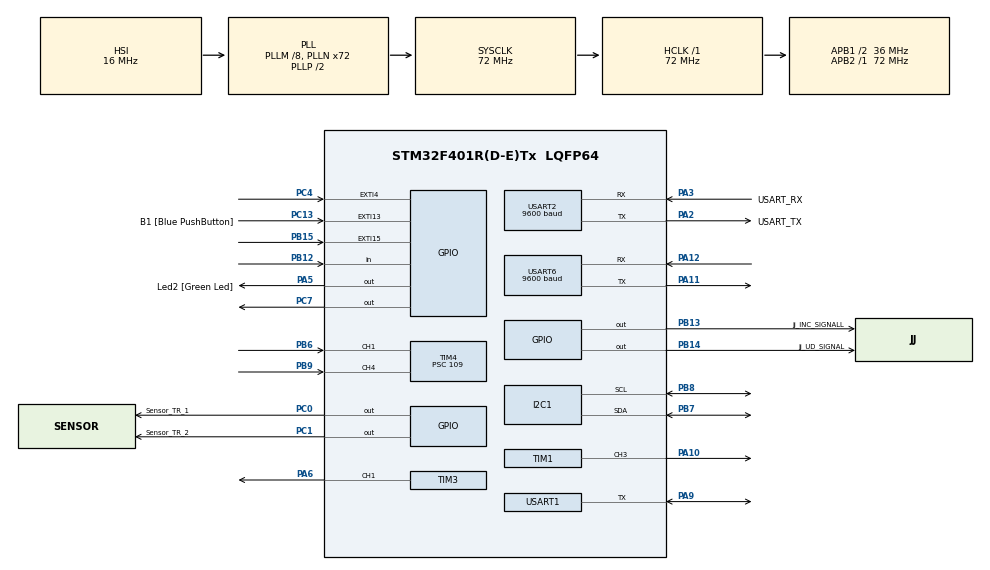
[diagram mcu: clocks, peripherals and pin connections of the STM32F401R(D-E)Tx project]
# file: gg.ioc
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Mcu.Family=STM32F4
Mcu.Name=STM32F401R(D-E)Tx
Mcu.Package=LQFP64
NVIC.EXTI15_10_IRQn=true\:0\:0\:false\:false\:true\:true\:true\:true
NVIC.EXTI4_IRQn=true\:0\:0\:false\:false\:true\:true\:true\:true
NVIC.PriorityGroup=NVIC_PRIORITYGROUP_0
NVIC.TIM1_BRK_TIM9_IRQn=true\:0\:0\:false\:false\:true\:true\:true\:true
NVIC.TIM1_TRG_COM_TIM11_IRQn=true\:0\:0\:false\:false\:true\:true\:true\:true
NVIC.TIM3_IRQn=true\:0\:0\:false\:false\:true\:true\:true\:true
NVIC.TIM4_IRQn=true\:0\:0\:false\:false\:true\:true\:true\:true
NVIC.USART1_IRQn=true\:0\:0\:false\:false\:true\:true\:true\:true
NVIC.USART2_IRQn=true\:0\:0\:false\:false\:true\:true\:true\:true
NVIC.USART6_IRQn=true\:0\:0\:false\:false\:true\:true\:true\:true
PA10.Signal=S_TIM1_CH3
PA13.GPIO_Label=TMS
PA13.Mode=Serial_Wire
PA13.Signal=SYS_JTMS-SWDIO
PA14.GPIO_Label=TCK
PA14.Mode=Serial_Wire
PA14.Signal=SYS_JTCK-SWCLK
PA2.GPIO_Label=USART_TX
PA2.GPIO_Mode=GPIO_MODE_AF_PP
PA2.GPIO_PuPd=GPIO_NOPULL
PA2.GPIO_Speed=GPIO_SPEED_FREQ_LOW
PA2.Mode=Asynchronous
PA2.Signal=USART2_TX
PA3.GPIO_Label=USART_RX
PA3.GPIO_Mode=GPIO_MODE_AF_PP
PA3.GPIO_PuPd=GPIO_NOPULL
PA3.GPIO_Speed=GPIO_SPEED_FREQ_LOW
PA3.Mode=Asynchronous
PA3.Signal=USART2_RX
PA4.Signal=ADCx_IN4
PA5.GPIO_Label=Led2 [Green Led]
PA5.GPIO_Mode=GPIO_MODE_OUTPUT_PP
PA5.GPIO_PuPd=GPIO_NOPULL
PA5.GPIO_Speed=GPIO_SPEED_FREQ_LOW
PA5.Signal=GPIO_Output
PA6.Signal=S_TIM3_CH1
PA11.Mode=Asynchronous
PA11.Signal=USART6_TX
PA12.Mode=Asynchronous
PA12.Signal=USART6_RX
PA9.Mode=Half_duplex(single_wire_mode)
PA9.Signal=USART1_TX
PB12.Signal=GPIO_Input
PB13.GPIO_Label=jj_INC_SIGNALL
PB13.Signal=GPIO_Output
PB14.GPIO_Label=jj_UD_SIGNAL
PB14.Signal=GPIO_Output
PB15.GPIO_ModeDefaultEXTI=GPIO_MODE_IT_FALLING
PB15.GPIO_PuPd=GPIO_PULLUP
PB15.Signal=GPXTI15
PB3.GPIO_Label=SWO
PB3.Signal=SYS_JTDO-SWO
PB6.GPIO_PuPd=GPIO_NOPULL
PB6.Signal=S_TIM4_CH1
PB7.GPIO_Pu=GPIO_PULLUP
PB7.Mode=I2C
PB7.Signal=I2C1_SDA
PB8.GPIO_Mode=GPIO_MODE_AF_OD
PB8.GPIO_Pu=GPIO_PULLUP
PB8.Mode=I2C
PB8.Signal=I2C1_SCL
PB9.GPIO_PuPd=GPIO_NOPULL
PB9.Signal=S_TIM4_CH4
PC0.GPIO_Label=Sensor_TR_1
PC0.GPIO_PuPd=GPIO_NOPULL
PC0.Signal=GPIO_Output
PC1.GPIO_Label=Sensor_TR_2
PC1.Signal=GPIO_Output
PC13-ANTI_TAMP.GPIO_Label=B1 [Blue PushButton]
PC13-ANTI_TAMP.GPIO_ModeDefaultEXTI=GPIO_MODE_IT_FALLING
PC13-ANTI_TAMP.GPIO_PuPd=GPIO_NOPULL
PC13-ANTI_TAMP.Signal=GPXTI13
PC14-OSC32_IN.Mode=LSE-External-Oscillator
PC14-OSC32_IN.Signal=RCC_OSC32_IN
PC15-OSC32_OUT.Mode=LSE-External-Oscillator
PC15-OSC32_OUT.Signal=RCC_OSC32_OUT
PC4.GPIO_PuPd=GPIO_PULLUP
PC4.Signal=GPXTI4
PC7.GPIO_PuPd=GPIO_NOPULL
PC7.PinState=GPIO_PIN_SET
PC7.Signal=GPIO_Output
PH0\ -\ OSC_IN.Mode=HSE-External-Clock-Source
PH0\ -\ OSC_IN.Signal=RCC_OSC_IN
PH1\ -\ OSC_OUT.Mode=HSE-External-Clock-Source
PH1\ -\ OSC_OUT.Signal=RCC_OSC_OUT
ProjectManager.HeapSize=0x200
ProjectManager.StackSize=0x400
ProjectManager.TargetToolchain=STM32CubeIDE
RCC.48MHZClocksFreq_Value=20571428.57142857
RCC.AHBFreq_Value=72000000
RCC.APB1CLKDivider=RCC_HCLK_DIV2
RCC.APB1Freq_Value=36000000
RCC.APB1TimFreq_Value=72000000
RCC.APB2Freq_Value=72000000
RCC.APB2TimFreq_Value=72000000
RCC.CortexFreq_Value=72000000
RCC.HCLKFreq_Value=72000000
RCC.HSE_VALUE=8000000
RCC.HSI_VALUE=16000000
RCC.PLLM=8
RCC.PLLN=72
RCC.PLLQ=7
RCC.RCC_RTC_Clock_Source=RCC_RTCCLKSOURCE_LSI
RCC.RCC_RTC_Clock_SourceVirtual=RCC_RTCCLKSOURCE_LSI
RCC.SYSCLKFreq_VALUE=72000000
RCC.SYSCLKSource=RCC_SYSCLKSOURCE_PLLCLK
RCC.VCOOutputFreq_Value=144000000
RTC.Format=RTC_FORMAT_BIN
RTC.Hours=10
SH.ADCx_IN4.0=ADC1_IN4
SH.S_TIM1_CH3.0=TIM1_CH3,PWM Generation3 CH3
SH.S_TIM3_CH1.0=TIM3_CH1,PWM Generation1 CH1
SH.S_TIM4_CH1.0=TIM4_CH1,Input_Capture1_from_TI1
SH.S_TIM4_CH4.0=TIM4_CH4,Input_Capture4_from_TI4
TIM1.AutoReloadPreload=TIM_AUTORELOAD_PRELOAD_ENABLE
TIM1.Channel-PWM\ Generation3\ CH3=TIM_CHANNEL_3
TIM1.OCFastMode_PWM-PWM\ Generation3\ CH3=TIM_OCFAST_ENABLE
TIM1.Period=65534
TIM1.Prescaler=3401
TIM1.Pulse-PWM\ Generation3\ CH3=6511
TIM3.AutoReloadPreload=TIM_AUTORELOAD_PRELOAD_ENABLE
TIM3.Channel-PWM\ Generation1\ CH1=TIM_CHANNEL_1
TIM3.OCFastMode_PWM-PWM\ Generation1\ CH1=TIM_OCFAST_ENABLE
TIM3.Period=65410
TIM3.Prescaler=21
TIM3.Pulse-PWM\ Generation1\ CH1=50000
TIM3.TIM_MasterOutputTrigger=TIM_TRGO_UPDATE
TIM4.AutoReloadPreload=TIM_AUTORELOAD_PRELOAD_ENABLE
TIM4.Channel-Input_Capture1_from_TI1=TIM_CHANNEL_1
TIM4.Channel-Input_Capture4_from_TI4=TIM_CHANNEL_4
TIM4.ClockDivision=TIM_CLOCKDIVISION_DIV1
TIM4.Period=65535
TIM4.Prescaler=109
TIM9.AutoReloadPreload=TIM_AUTORELOAD_PRELOAD_ENABLE
TIM9.Period=65535-1
TIM9.Prescaler=501
USART1.VirtualMode=VM_ASYNC
USART2.BaudRate=9600
USART2.VirtualMode=VM_ASYNC
USART6.BaudRate=9600
USART6.VirtualMode=VM_ASYNC
VP_RTC_VS_RTC_Activate.Mode=RTC_Enabled
VP_RTC_VS_RTC_WakeUp_intern.Mode=WakeUp
VP_TIM1_VS_ClockSourceINT.Mode=Internal
VP_TIM3_VS_ClockSourceINT.Mode=Internal
VP_TIM4_VS_ClockSourceINT.Mode=Internal
VP_TIM9_VS_ClockSourceINT.Mode=Internal
board=NUCLEO-F401RE

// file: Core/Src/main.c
/* USER CODE BEGIN Header */
/**
  ******************************************************************************
  * @file           : main.c
  * @brief          : Main program body
  ******************************************************************************
  * @attention
  *
  * Copyright (c) 2022 STMicroelectronics.
  * All rights reserved.
  *
  * This software is licensed under terms that can be found in the LICENSE file
  * in the root directory of this software component.
  * If no LICENSE file comes with this software, it is provided AS-IS.
  *
  ******************************************************************************
  */
/* USER CODE END Header */
#include "main.h"
#include "i2c.h"
#include "rtc.h"
#include "tim.h"
#include "usart.h"
#include "gpio.h"

/* USER CODE BEGIN Includes */
//***************************************************************************************
#include <stdio.h>
#include <string.h>
#include <lcd16x2_i2c.h>
#include <jj.h>
#include <lcd_display.h>
#include <jj_Time.h>

#include <OneWire.h>
/* USER CODE END Includes */

/* USER CODE BEGIN PTD */
#define jj_const_czas_piku 150

/* Modul BLE HM-10 na USART6 (PA11 TX, PA12 RX), STATE na PB12 */
#define JJ_BLE_UART           huart6
#define JJ_TELEMETRIA_MS      200     /* co ile ms wysylac dane          */
#define JJ_PROG_DOMYSLNY      30      /* cm - ponizej ciagly pisk        */
#define JJ_PROG_MIN           10
#define JJ_PROG_MAX           100
#define JJ_RX_ROZMIAR         32
/* USER CODE END PTD */

/* USER CODE BEGIN PM */
void jj_Get_Time(void)
{
	/* HAL wymaga pelnych struktur RTC (RTC_TimeTypeDef ma 20 bajtow).
	   Wczesniej zapis szedl wprost do tablicy uint8_t[4] i nadpisywal pamiec. */
	RTC_TimeTypeDef czas = {0};
	RTC_DateTypeDef data = {0};

	HAL_RTC_GetTime(&hrtc, &czas, RTC_FORMAT_BIN);
	HAL_RTC_GetDate(&hrtc, &data, RTC_FORMAT_BIN);   /* zawsze po GetTime */

	godzina_main[0] = czas.Hours;
	godzina_main[1] = czas.Minutes;
	godzina_main[2] = czas.Seconds;

	data_main[0] = data.WeekDay;
	data_main[1] = data.Month;
	data_main[2] = data.Date;
	data_main[3] = data.Year;
}
/* USER CODE END PM */

/* USER CODE BEGIN PV */

volatile uint16_t 	jj_val_Tim3_20_ms;
volatile uint16_t   jj_val_Tim3_1000ms;

uint32_t 	jj_Val_Pulse_ms;
uint32_t 	jj_Val_Pulse_ms_New;

uint16_t 	jj_Val_PSC ;
//uint16_t	jj_Val_PSC_new;

uint16_t 	jj_Val_ARR;

uint32_t  	jj_Val_F;

float liczba_float;

//----------------------------------zmienna decydująca co yświetlacz na LCD
volatile uint8_t jj_Lcd_Screen;
//----------------------------------Pomiar odleglosci----------------------------------------------------------------------------------------
uint8_t jj_measure_lewy_prawy;
//uint8_t jj_wykasowac;
						// 1- czujnik 1 ; 2- czujnik 2 ; 0- pomiar wyłaczony;
//-------------------------------------------------------------------------------------------------------------------------------------
uint8_t napis_wersja_softu[]="\n              pierwszy program v.01 \n";
uint8_t array_petla[]="ooo rety";
volatile uint8_t x,y,z ,f,koniec_konwersji,dioda;
//--------------------------------------------

uint16_t j;
volatile uint64_t Licznik_TIMM10,Licznik_TIM11,VALUE;

volatile uint16_t ADC_JOYSTICK[40];
volatile uint64_t PWM,OC,timer10_val;

uint16_t ADC_Result2[3];

uint8_t UartMessage[32];
//---------------------------------------------------------------------------------------

//---------------------------------------------------------
uint8_t godzina_main[4];
uint8_t data_main[4];
jj_T_Time j_czas;
jj_T_Date jj_data;
uint32_t jj_Psc_htim3;

  /* USER CODE END 2 */

//------------------------------------------------------------------------------------------------

//---------------------------------------------------------------
/* USER CODE END PV */

void SystemClock_Config(void);
/* USER CODE BEGIN PFP */
void jj_UART2_Print(uint8_t* Message);
static void jj_Odbior_Start(UART_HandleTypeDef *huart);
static void jj_Wyslij_Telemetrie(void);
static void jj_Obsluz_Komende(char *linia);
static float jj_Najblizsza_Odleglosc(void);
/* USER CODE END PFP */

/* USER CODE BEGIN 0 */
extern float Temp[MAXDEVICES_ON_THE_BUS];
extern uint8_t devices;              /* liczba znalezionych DS18B20 (OneWire.c) */

/* Prog ciaglego pisku [cm], zmieniany komenda PROG=xx */
static volatile uint8_t jj_prog_cm = JJ_PROG_DOMYSLNY;

/* Odbior komend: bufor HAL + skladanie linii (BLE dzieli dane na paczki po 20 B) */
static uint8_t  jj_rx_ble[JJ_RX_ROZMIAR];
static uint8_t  jj_rx_pc[JJ_RX_ROZMIAR];
static char     jj_linia_ble[JJ_RX_ROZMIAR];
static char     jj_linia_pc[JJ_RX_ROZMIAR];
static uint8_t  jj_linia_ble_dl;
static uint8_t  jj_linia_pc_dl;
static char     jj_komenda[JJ_RX_ROZMIAR];
static volatile uint8_t jj_komenda_gotowa;

/* Osobne bufory nadawcze - transmisja w przerwaniach trwa jeszcze po wyjsciu z funkcji */
static char     jj_tx_ble[64];
static char     jj_tx_pc[64];
uint32_t jj_value[2];
uint32_t aa;
uint32_t bb;

/* USER CODE END 0 */

int main(void)
{
  /* USER CODE BEGIN 1 */
	jj_Lcd_Screen =1;
	jj_Psc_htim3 =65000;
//------------------------------------------------------------

  /* USER CODE END 1 */

  /* MCU Configuration--------------------------------------------------------*/

  /* Reset of all peripherals, Initializes the Flash interface and the Systick. */
  HAL_Init();

  /* Configure the system clock */
  SystemClock_Config();

  /* Initialize all configured peripherals */
  MX_GPIO_Init();
  MX_USART2_UART_Init();
  MX_USART1_UART_Init();
  MX_TIM4_Init();
  MX_TIM9_Init();
  MX_TIM1_Init();
  MX_RTC_Init();
  MX_I2C1_Init();
  MX_USART6_UART_Init();
  MX_TIM3_Init();
  /* USER CODE BEGIN 2 */
  lcd16x2_i2c_init(&hi2c1);
  lcd16x2_i2c_printf("14");
  jj_measure_lewy_prawy =1;

  /* odbior komend z HM-10 (BLE) i z komputera (USB, ST-Link) */
  jj_Odbior_Start(&JJ_BLE_UART);
  jj_Odbior_Start(&huart2);
//--------------------------------- KONFIGURACJA TIMERÓW
	HAL_TIM_Base_Start_IT ( &htim9 );
	HAL_TIM_IC_Start_IT ( &htim4 , TIM_CHANNEL_1 );	//Timer 4 pomiar odległości
	HAL_TIM_IC_Start_IT ( &htim4 , TIM_CHANNEL_4 );  //Timer 4 pomiar odległości
	HAL_TIM_PWM_Start_IT ( &htim1 , TIM_CHANNEL_3 );
	HAL_TIM_PWM_Start_IT ( &htim3 , TIM_CHANNEL_1 );

	//HAL_ADC_Start_DMA ( &hadc1 , jj_value , 2 );
//------------------------------inicjalizacja pomiaru temperatury onewire ---------------------------
 get_ROMid();
//------------------------------------------------------------------------
	jj_Val_PSC = TIM1->PSC;
	jj_Val_ARR = TIM1->ARR;
	jj_Val_F = ((72000000000) /            //* 1000 wiec wynik w mHz
			((TIM1->PSC + 1) * (TIM1->ARR + 1)));

	jj_Val_Pulse_ms = 1000000 / jj_Val_F;   // calkowity czas pulsu
	//-- wyznaczenie liczby dla pulsu 150 ms

	TIM1->CCR3 = (uint32_t) ((TIM1->ARR * jj_const_czas_piku)
			/ (jj_Val_Pulse_ms));

//------------------------------------------------------------------------
  /* USER CODE END 2 */

  /* Infinite loop */
  /* USER CODE BEGIN WHILE */
  while (1)
  {
	  get_Temperature();
	  jj_Get_Time();

      aa = jj_value[0];
      bb = jj_value[1];

//---------------------------------------------- realizacja pikania buczkiem w zaleznosci od osleglosci
	  /* bierzemy blizszy z dwoch czujnikow; prog ciaglego pisku z komendy PROG= */
	  float odl = jj_Najblizsza_Odleglosc ( );
	  if ((odl >= 2) && (odl <= 400)) {

			if (odl <= jj_prog_cm) {
				TIM1->PSC = 170;
			} else

			{
				TIM1->PSC = (uint32_t) (11 * odl) - 91;
			}

		}

	  jj_Val_PSC = TIM1->PSC ;
	  jj_Val_ARR = TIM1->ARR ;
	  jj_Val_F = ((72000000000) /            //* 1000 wiec wynik w mHz
	   			    (  (TIM1->PSC+1)	*	(TIM1->ARR+1)));

	  jj_Val_Pulse_ms  = 1000000 /jj_Val_F ;   // calkowity czas pulsu w ms

	  TIM1->CCR3 = (uint32_t)((TIM1->ARR * jj_const_czas_piku)/(	jj_Val_Pulse_ms	)  );

	  switch (jj_measure_lewy_prawy) {
			case 1:
				jj_Sensor_Start ( 1 );
				HAL_GPIO_WritePin ( GPIOC , GPIO_PIN_0 , GPIO_PIN_SET );

				__HAL_TIM_SET_COUNTER( &htim9 , 0 );
				while (__HAL_TIM_GET_COUNTER(&htim9) < 70)
					; // wait for the counter to reach the us input in the parameter

				HAL_GPIO_WritePin ( GPIOC , GPIO_PIN_0 , GPIO_PIN_RESET );
				jj_measure_lewy_prawy = 2;
				break;

			case 2:
				jj_Sensor_Start ( 2 );
				HAL_GPIO_WritePin ( GPIOC , GPIO_PIN_1 , GPIO_PIN_SET );

				__HAL_TIM_SET_COUNTER( &htim9 , 0 );
				while (__HAL_TIM_GET_COUNTER(&htim9) < 70)
					; // wait for the counter to reach the us input in the parameter

				HAL_GPIO_WritePin ( GPIOC , GPIO_PIN_1 , GPIO_PIN_RESET );
				jj_measure_lewy_prawy = 1;
				break;

			default:

				break;
		} //-------------------  koniec switcha

	  	  	  	jj_Lcd_Menu(jj_Lcd_Screen);
HAL_Delay(100);

if (jj_val_Tim3_1000ms == 20)
{

jj_val_Tim3_1000ms = 0;
}

//----------------------------------------------

//------------------------------------------------------------

//-------------------------------------------------------------------------------------

    //---------------------------------------- dane do telefonu (HM-10) i komputera
    static uint32_t ostatnia_telemetria = 0;
    if ( HAL_GetTick ( ) - ostatnia_telemetria >= JJ_TELEMETRIA_MS )
    {
    	ostatnia_telemetria = HAL_GetTick ( );
    	jj_Wyslij_Telemetrie ( );
    }

    //---------------------------------------- komendy z telefonu / komputera
    if ( jj_komenda_gotowa )
    {
    	jj_Obsluz_Komende ( jj_komenda );
    	jj_komenda_gotowa = 0;
    }
//------------------------------------------------------------------------------------------
    /* USER CODE END WHILE */

  }
}

void SystemClock_Config(void)
{
  RCC_OscInitTypeDef RCC_OscInitStruct = {0};
  RCC_ClkInitTypeDef RCC_ClkInitStruct = {0};

  /** Configure the main internal regulator output voltage
  */
  __HAL_RCC_PWR_CLK_ENABLE();
  __HAL_PWR_VOLTAGESCALING_CONFIG(PWR_REGULATOR_VOLTAGE_SCALE2);

  /** Initializes the RCC Oscillators according to the specified parameters
  * in the RCC_OscInitTypeDef structure.
  */
  RCC_OscInitStruct.OscillatorType = RCC_OSCILLATORTYPE_HSI|RCC_OSCILLATORTYPE_LSI;
  RCC_OscInitStruct.HSIState = RCC_HSI_ON;
  RCC_OscInitStruct.HSICalibrationValue = RCC_HSICALIBRATION_DEFAULT;
  RCC_OscInitStruct.LSIState = RCC_LSI_ON;
  RCC_OscInitStruct.PLL.PLLState = RCC_PLL_ON;
  RCC_OscInitStruct.PLL.PLLSource = RCC_PLLSOURCE_HSI;
  RCC_OscInitStruct.PLL.PLLM = 8;
  RCC_OscInitStruct.PLL.PLLN = 72;
  RCC_OscInitStruct.PLL.PLLP = RCC_PLLP_DIV2;
  RCC_OscInitStruct.PLL.PLLQ = 7;
  if (HAL_RCC_OscConfig(&RCC_OscInitStruct) != HAL_OK)
  {
    Error_Handler();
  }

  /** Initializes the CPU, AHB and APB buses clocks
  */
  RCC_ClkInitStruct.ClockType = RCC_CLOCKTYPE_HCLK|RCC_CLOCKTYPE_SYSCLK
                              |RCC_CLOCKTYPE_PCLK1|RCC_CLOCKTYPE_PCLK2;
  RCC_ClkInitStruct.SYSCLKSource = RCC_SYSCLKSOURCE_PLLCLK;
  RCC_ClkInitStruct.AHBCLKDivider = RCC_SYSCLK_DIV1;
  RCC_ClkInitStruct.APB1CLKDivider = RCC_HCLK_DIV2;
  RCC_ClkInitStruct.APB2CLKDivider = RCC_HCLK_DIV1;

  if (HAL_RCC_ClockConfig(&RCC_ClkInitStruct, FLASH_LATENCY_2) != HAL_OK)
  {
    Error_Handler();
  }
}

/* USER CODE BEGIN 4 */
void jj_UART2_Print(uint8_t *Message) {

	HAL_UART_Transmit_IT( &huart2 , Message , strlen ( (char*) Message ) );
}

//---------------------------------------PRZERWANIA
void HAL_GPIO_EXTI_Callback(uint16_t GPIO_Pin) {
	uint16_t x;
	x = GPIO_Pin;
	if (GPIO_Pin == GPIO_PIN_13) {
		jj_Lcd_Screen++;
		if (jj_Lcd_Screen > 5)
			jj_Lcd_Screen = 1;

	}

	if (GPIO_Pin == GPIO_PIN_4) {
		jj_Lcd_Screen = 1;
	}

	if (GPIO_Pin == GPIO_PIN_15) {
		jj_Lcd_Screen = 2;
	}

}
//---------------------------------------------------------------

//----------------------------------------------------------------------------------------------------------------------------------------------
//------------------------------------------------------------------ BLE (HM-10) i UART2
static void jj_Odbior_Start(UART_HandleTypeDef *huart)
{
	uint8_t *bufor = (huart == &JJ_BLE_UART) ? jj_rx_ble : jj_rx_pc;
	HAL_UARTEx_ReceiveToIdle_IT(huart, bufor, JJ_RX_ROZMIAR);
}

/* Odebrano kawalek danych (koniec bufora albo przerwa w transmisji).
   Skladamy znaki w linie; komenda konczy sie znakiem \n albo \r. */
void HAL_UARTEx_RxEventCallback(UART_HandleTypeDef *huart, uint16_t Size)
{
	uint8_t *bufor;
	char    *linia;
	uint8_t *dl;

	if (huart == &JJ_BLE_UART) {
		bufor = jj_rx_ble; linia = jj_linia_ble; dl = &jj_linia_ble_dl;
	} else if (huart == &huart2) {
		bufor = jj_rx_pc;  linia = jj_linia_pc;  dl = &jj_linia_pc_dl;
	} else {
		return;
	}

	for (uint16_t k = 0; k < Size; k++) {
		char c = (char) bufor[k];
		if (c == '\n' || c == '\r') {
			if (*dl > 0 && !jj_komenda_gotowa) {
				linia[*dl] = 0;
				memcpy(jj_komenda, linia, (size_t)(*dl) + 1);
				jj_komenda_gotowa = 1;
			}
			*dl = 0;
		} else if (*dl < JJ_RX_ROZMIAR - 1) {
			linia[(*dl)++] = c;
		} else {
			*dl = 0;   /* za dluga linia - odrzucamy */
		}
	}
	jj_Odbior_Start(huart);
}

/* Po bledzie (np. szum na linii) wznawiamy odbior. USART1 to 1-Wire - nie ruszamy. */
void HAL_UART_ErrorCallback(UART_HandleTypeDef *huart)
{
	if (huart == &JJ_BLE_UART || huart == &huart2) {
		jj_Odbior_Start(huart);
	}
}

static float jj_Najblizsza_Odleglosc(void)
{
	float d1 = jj_Get_Result_Sensor_1();
	float d2 = jj_Get_Result_Sensor_2();

	if (d1 < 0) return d2;
	if (d2 < 0) return d1;
	return (d1 < d2) ? d1 : d2;
}

/* Linia tekstu, np.  D1=50;D2=73;T1=21.5;T2=22.0\n
   D = odleglosc w cm (-1 = brak pomiaru), T = temperatura (tylko znalezione czujniki). */
static void jj_Wyslij_Telemetrie(void)
{
	char linia[64];
	int  n;

	n = snprintf(linia, sizeof(linia), "D1=%d;D2=%d",
			(int) jj_Get_Result_Sensor_1(), (int) jj_Get_Result_Sensor_2());

	for (uint8_t k = 0; k < devices && k < MAXDEVICES_ON_THE_BUS && n < (int) sizeof(linia); k++) {
		n += snprintf(linia + n, sizeof(linia) - n, ";T%d=%.1f", k + 1, Temp[k]);
	}
	if (n > (int) sizeof(linia) - 2) n = sizeof(linia) - 2;
	linia[n++] = '\n';
	linia[n] = 0;

	/* HM-10 - tylko gdy telefon jest polaczony (STATE = 1) */
	if (HAL_GPIO_ReadPin(GPIOB, GPIO_PIN_12) == GPIO_PIN_SET
			&& JJ_BLE_UART.gState == HAL_UART_STATE_READY) {
		memcpy(jj_tx_ble, linia, (size_t) n + 1);
		HAL_UART_Transmit_IT(&JJ_BLE_UART, (uint8_t*) jj_tx_ble, (uint16_t) n);
	}
	/* komputer przez USB (ST-Link), np. PuTTY 9600 */
	if (huart2.gState == HAL_UART_STATE_READY) {
		memcpy(jj_tx_pc, linia, (size_t) n + 1);
		HAL_UART_Transmit_IT(&huart2, (uint8_t*) jj_tx_pc, (uint16_t) n);
	}
}

/* Komendy:  EKRAN=1..5   PROG=10..100 */
static void jj_Obsluz_Komende(char *linia)
{
	char odp[40];
	int  wartosc;

	if (sscanf(linia, "EKRAN=%d", &wartosc) == 1 && wartosc >= 1 && wartosc <= 5) {
		jj_Lcd_Screen = (uint8_t) wartosc;
		snprintf(odp, sizeof(odp), "OK EKRAN=%d\n", wartosc);
	} else if (sscanf(linia, "PROG=%d", &wartosc) == 1
			&& wartosc >= JJ_PROG_MIN && wartosc <= JJ_PROG_MAX) {
		jj_prog_cm = (uint8_t) wartosc;
		snprintf(odp, sizeof(odp), "OK PROG=%d\n", wartosc);
	} else {
		snprintf(odp, sizeof(odp), "BLAD: EKRAN=1..5 lub PROG=%d..%d\n", JJ_PROG_MIN, JJ_PROG_MAX);
	}

	/* odpowiedz w obie strony; czekamy chwile, az zwolni sie nadajnik */
	uint32_t start = HAL_GetTick();
	while ((JJ_BLE_UART.gState != HAL_UART_STATE_READY || huart2.gState != HAL_UART_STATE_READY)
			&& HAL_GetTick() - start < 100) { }
	if (HAL_GPIO_ReadPin(GPIOB, GPIO_PIN_12) == GPIO_PIN_SET) {
		strcpy(jj_tx_ble, odp);
		HAL_UART_Transmit_IT(&JJ_BLE_UART, (uint8_t*) jj_tx_ble, (uint16_t) strlen(odp));
	}
	strcpy(jj_tx_pc, odp);
	HAL_UART_Transmit_IT(&huart2, (uint8_t*) jj_tx_pc, (uint16_t) strlen(odp));
}

//----------------------------------------------------------------------------------------------------------
void HAL_TIM_IC_CaptureCallback(TIM_HandleTypeDef *htim)
{
	if ( htim->Channel 		==	HAL_TIM_ACTIVE_CHANNEL_4)
		{
			jj_Measure_Sensor_1();
		}

	if ( htim->Channel 		==	HAL_TIM_ACTIVE_CHANNEL_1)
		{
			jj_Measure_Sensor_2();
		}

}
//-----------------------------------------------------------------------------------------------------------
void HAL_TIM_PWM_PulseFinishedHalfCpltCallback(TIM_HandleTypeDef *htim)
{

}

void HAL_TIM_PWM_PulseFinishedCallback(TIM_HandleTypeDef *htim)
{

	if	(htim->Instance ==TIM1)
	{
			x=11;

	}

	if	(htim->Instance ==TIM3)
	{
		jj_val_Tim3_20_ms ++;

		if ( jj_val_Tim3_20_ms == 500 )
		{

			jj_val_Tim3_1000ms ++;
			jj_val_Tim3_20_ms = 0;
		}

	}

	if (htim->Instance	==	TIM5)
	{
		dioda++;
	}

	if (htim->Instance	==	TIM4)
	{
		dioda++;
	}

	dioda++;
	if ( dioda>= 30)
	 {
		 dioda= 0 ;
	 }

	if ( dioda == 25)
	{
//	 HAL_GPIO_TogglePin(Led2_GPIO_Port, Led2_Pin);

	}

}

//--------------------------------------------------------------------------------------
void HAL_TIM_OC_DelayElapsedCallback(TIM_HandleTypeDef *htim)
{

}
//------------------------------------------------------

//----------------------------------------------------------------------------------------------------

void HAL_TIM_PeriodElapsedCallback(TIM_HandleTypeDef *htim)
{
//------------------------------------------------------------------------------------------------ TIMER 4
	if	(htim->Instance ==TIM3)
	{
		x=20;

	}

	if	(htim->Instance ==TIM4)
	{

	}

//------------------------------------------------------------------------------------------------ TIMER 10
	if (htim->Instance == TIM1) {

		x=20;

	}
//---------------------------------------------------------------------
	if (htim->Instance == TIM9) {

		HAL_GPIO_TogglePin(Led2_GPIO_Port, Led2_Pin);

	}
//-----------------------------------------------------------------------------------------

	if (htim->Instance == TIM10) {

		Licznik_TIMM10 ++;

	}

//-------------------------------------------------------------------------------------------------	TIMER 11
	if( htim->Instance == TIM11)
	{

 	//	HAL_GPIO_TogglePin(Led2_GPIO_Port, Led2_Pin);

        Licznik_TIM11 ++;

	}
//---------------------------------------------------------------------------------------------------
};

/* USER CODE END 4 */

void Error_Handler(void)
{
  __disable_irq();
  while (1)
  {
  }
}
